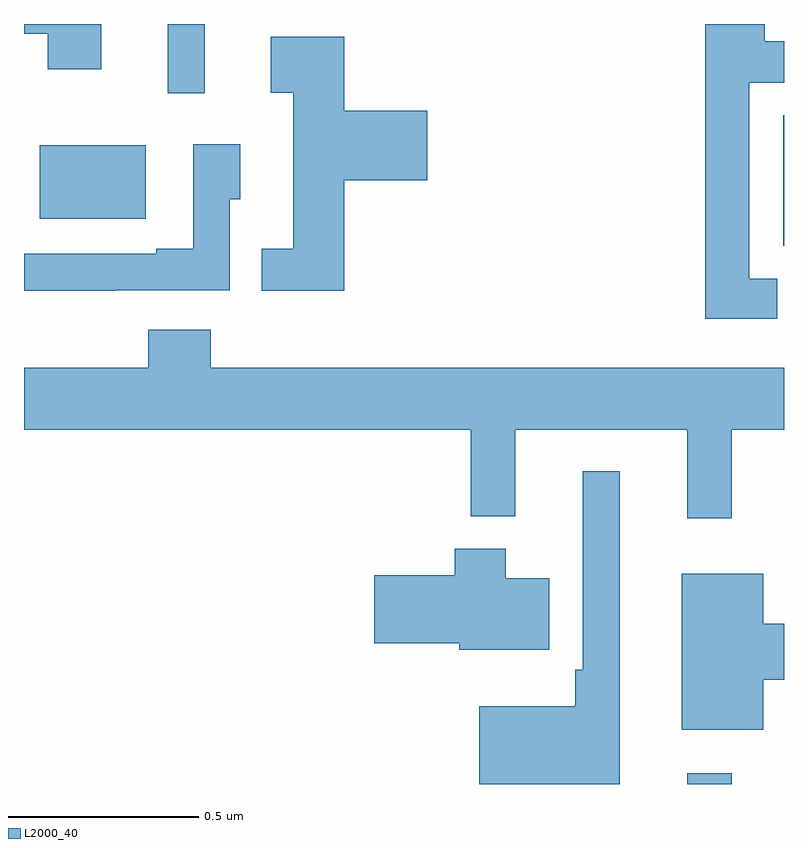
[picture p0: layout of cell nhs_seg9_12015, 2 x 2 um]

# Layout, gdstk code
import gdstk
lib = gdstk.Library(unit=1e-6, precision=1e-09)
def R(c, l, rs):  # rectangles x0, y0, x1, y1
    for r in rs: c.add(gdstk.rectangle(r[:2], r[2:], *l))
def P(c, l, *ps):  # polygons
    for p in ps: c.add(gdstk.Polygon(p, *l))
L2000_40 = (2000, 40)

nhs_seg9_12015 = lib.new_cell('nhs_seg9_12015')
R(nhs_seg9_12015, L2000_40, [(264.746,1183.5,264.863,1183.528), (264.998,1184.917,265,1185.26), (263.042,1184.987,263.32,1185.181), (263.378,1185.318,263.476,1185.5)])
P(nhs_seg9_12015, L2000_40, [(263.203,1185.5),(263,1185.5),(263,1185.474),(263.063,1185.474),(263.063,1185.381),(263.203,1185.381)],
  [(264.982,1184.829),(264.909,1184.829),(264.909,1185.345),(265,1185.345),(265,1185.454),(264.949,1185.454),(264.949,1185.5),(264.793,1185.5),(264.793,1184.724),(264.982,1184.724)],
  [(263.843,1185.089),(264.061,1185.089),(264.061,1185.272),(263.843,1185.272),(263.843,1185.466),(263.649,1185.466),(263.649,1185.319),(263.708,1185.319),(263.708,1184.908),(263.626,1184.908),(263.626,1184.798),(263.843,1184.798)],
  [(263.243,1184.799),(263.541,1184.799),(263.541,1185.039),(263.569,1185.039),(263.569,1185.184),(263.445,1185.184),(263.445,1184.908),(263.348,1184.908),(263.348,1184.895),(263,1184.895),(263,1184.798),(263.243,1184.798)],
  [(264.863,1184.432),(265,1184.432),(265,1184.596),(263.492,1184.596),(263.492,1184.695),(263.327,1184.695),(263.327,1184.596),(263,1184.596),(263,1184.432),(264.175,1184.432),(264.175,1184.204),(264.293,1184.204),(264.293,1184.432),(264.746,1184.432),(264.746,1184.199),(264.863,1184.199)],
  [(264.568,1184.323),(264.471,1184.323),(264.471,1183.801),(264.451,1183.801),(264.451,1183.705),(264.198,1183.705),(264.198,1183.5),(264.568,1183.5)],
  [(264.382,1184.041),(264.268,1184.041),(264.268,1184.119),(264.134,1184.119),(264.134,1184.049),(263.922,1184.049),(263.922,1183.871),(264.146,1183.871),(264.146,1183.853),(264.382,1183.853)],
  [(264.946,1183.775),(265,1183.775),(265,1183.922),(264.946,1183.922),(264.946,1184.053),(264.731,1184.053),(264.731,1183.643),(264.946,1183.643)])

lib.write_gds('nhs_seg9_12015.gds')
